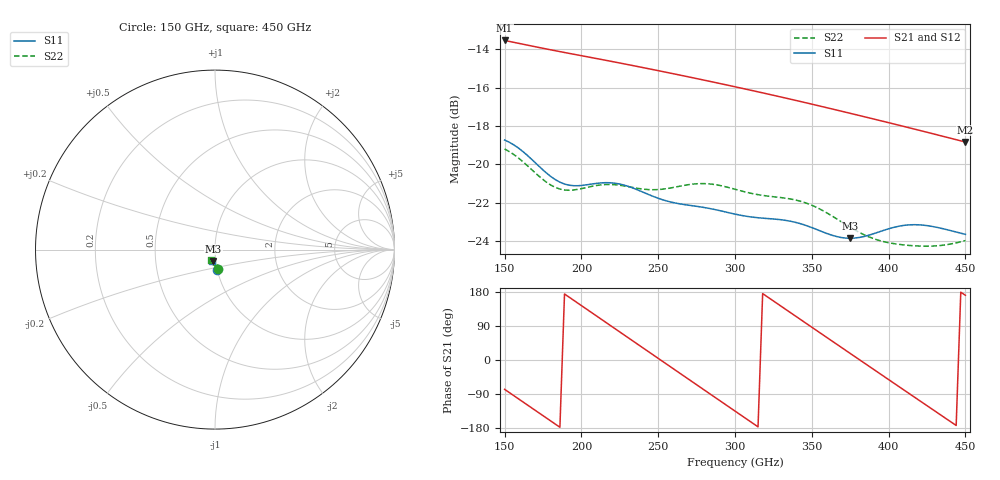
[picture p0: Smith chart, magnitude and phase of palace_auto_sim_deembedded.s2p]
! Created with skrf 1.11.0 (http://scikit-rf.org).
# GHz S DB R 50.0
!freq dBS11 angS11 dBS21 angS21 dBS12 angS12 dBS22 angS22
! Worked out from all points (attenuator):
!   101 points, 150 GHz to 450 GHz, reference 50 ohm
!   highest |S21| = -13.53 dB at 150 GHz (marker M1); lowest = -18.8 dB at 450 GHz (marker M2)
!   lowest |S11| = -23.9 dB at 375 GHz (marker M3), VSWR 1.14, Z = 48.7 - j6.19 ohm
!   |S11| at or under -10 dB: start of sweep to end of sweep
!   |S22| runs from -24.3 to -19.2 dB; largest |S21 - S12| = 2.4e-14
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150  -18.73 -84.0  -13.53 -77.4  -13.53 -77.4  -19.20 -81.1
162  -19.34 -87.8  -13.73 -110.8  -13.73 -110.8  -19.87 -84.0
177  -20.44 -89.4  -13.97 -152.5  -13.97 -152.5  -20.92 -83.9
189  -21.03 -87.5  -14.16 174.2  -14.16 174.2  -21.34 -81.1
201  -21.10 -85.8  -14.34 140.8  -14.34 140.8  -21.26 -79.3
213  -20.97 -86.7  -14.52 107.4  -14.52 107.4  -21.08 -80.3
225  -21.03 -89.5  -14.71 74.0  -14.71 74.0  -21.10 -82.5
240  -21.45 -92.5  -14.95 32.2  -14.95 32.2  -21.30 -84.2
252  -21.83 -93.5  -15.14 -1.2  -15.14 -1.2  -21.31 -84.8
276  -22.21 -94.6  -15.54 -68.0  -15.54 -68.0  -21.02 -89.3
288  -22.39 -95.8  -15.74 -101.4  -15.74 -101.4  -21.08 -93.0
300  -22.61 -96.6  -15.95 -134.8  -15.95 -134.8  -21.31 -96.2
312  -22.77 -97.1  -16.16 -168.1  -16.16 -168.1  -21.54 -98.5
324  -22.85 -97.8  -16.38 158.6  -16.38 158.6  -21.69 -100.6
339  -23.03 -99.6  -16.65 117.0  -16.65 117.0  -21.86 -104.3
351  -23.34 -100.7  -16.88 83.7  -16.88 83.7  -22.18 -107.8
375  -23.87 -98.5  -17.34 17.4  -17.34 17.4  -23.29 -111.7
387  -23.71 -97.0  -17.57 -15.8  -17.57 -15.8  -23.79 -111.3
402  -23.33 -97.6  -17.87 -57.2  -17.87 -57.2  -24.13 -110.0
423  -23.19 -101.6  -18.29 -115.0  -18.29 -115.0  -24.28 -108.7
438  -23.42 -104.1  -18.59 -156.3  -18.59 -156.3  -24.20 -108.0
450  -23.66 -105.2  -18.84 170.7  -18.84 170.7  -23.99 -108.3
